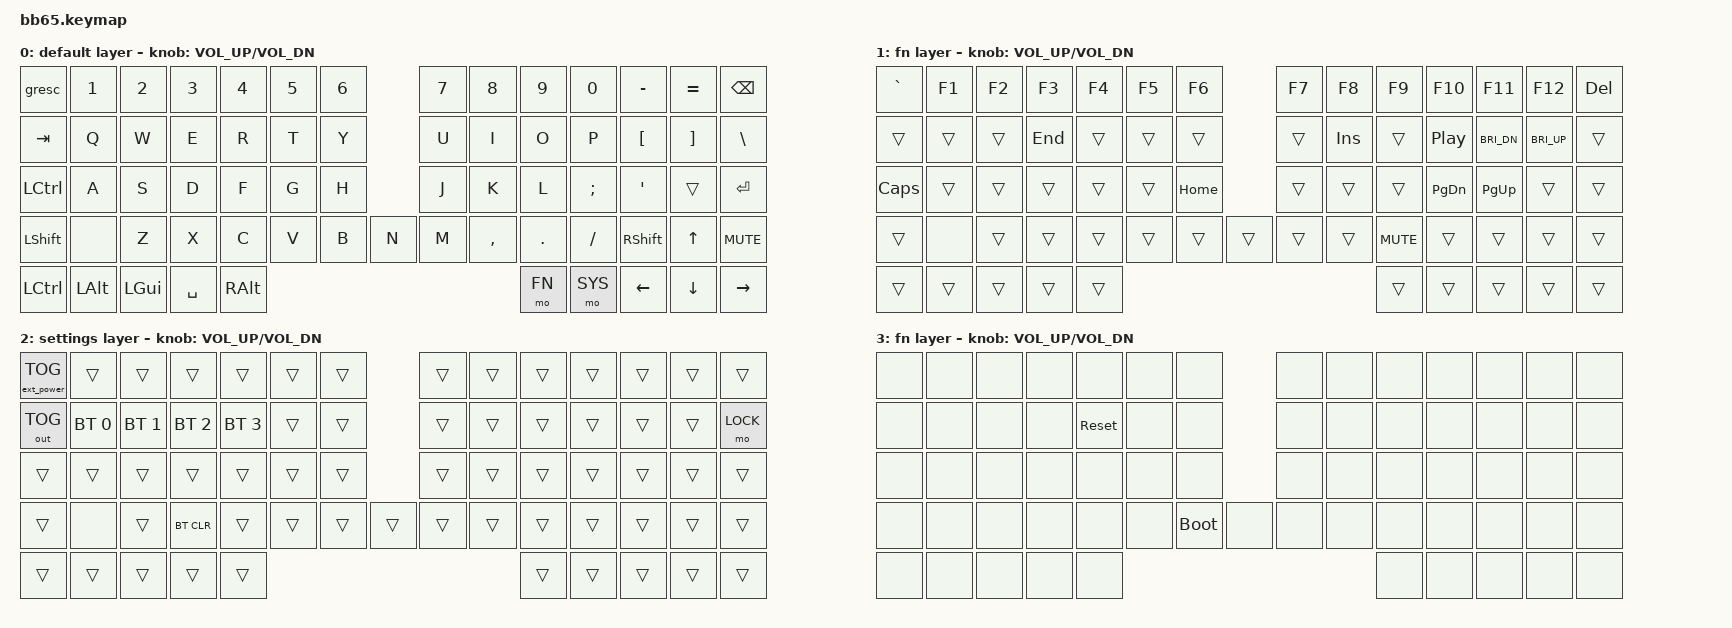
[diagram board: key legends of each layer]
/*
 * Copyright (c) 2023 The ZMK Contributors
 *
 * SPDX-License-Identifier: MIT
 */

#include <behaviors.dtsi>
#include <dt-bindings/zmk/keys.h>
#include <dt-bindings/zmk/bt.h>
#include <dt-bindings/zmk/ext_power.h>
#include <dt-bindings/zmk/outputs.h>

#define DEFAULT  0
#define FN       1
#define SYS      2
#define LOCK     3

#define TIMEOUT 300

&encoder_1 {
    status = "okay";
};

/ {
    combos {
        compatible = "zmk,combos";
        combo_btclr { 
            timeout-ms = <TIMEOUT>;
            key-positions = <0 42 58>;
            bindings = <&kp GRAVE>;
        };
    };

    behaviors {
        gresc: grave_escape {
            compatible = "zmk,behavior-mod-morph";
            label = "GRAVE_ESCAPE";
            #binding-cells = <0>;
            bindings = <&kp ESC>, <&kp TILDE>;
            mods = <(MOD_LGUI|MOD_LSFT|MOD_RGUI|MOD_RSFT)>;
        };
    };

    sensors {
        compatible = "zmk,keymap-sensors";
        sensors = <&encoder_1>;
    };

    keymap0: keymap {
        compatible = "zmk,keymap";

        default_layer {
            label = "default layer";
            bindings = <
                &gresc          &kp N1   &kp N2   &kp N3 &kp N4   &kp N5    &kp N6 &kp N7 &kp N8    &kp N9   &kp N0    &kp MINUS &kp EQUAL &kp BSPC
                &kp TAB         &kp Q    &kp W    &kp E  &kp R    &kp T     &kp Y  &kp U  &kp I     &kp O    &kp P     &kp LBKT  &kp RBKT  &kp BSLH
                &kp LCTRL         &kp A    &kp S    &kp D  &kp F    &kp G     &kp H  &kp J  &kp K     &kp L    &kp SEMI  &kp APOS  &trans    &kp ENTER
                &kp LSHFT &none &kp Z    &kp X    &kp C  &kp V    &kp B     &kp N  &kp M  &kp COMMA &kp DOT  &kp FSLH  &kp RSHFT           &kp UP    &kp K_MUTE
                &kp LCTRL       &kp LALT &kp LGUI                 &kp SPACE               &kp RALT  &mo FN   &mo SYS             &kp LEFT  &kp DOWN  &kp RIGHT
            >;
            sensor-bindings = <&inc_dec_kp C_VOL_UP C_VOL_DN>;
        };

        fn_layer {
            label = "fn layer";
            bindings = <
                &kp GRAVE    &kp F1 &kp F2 &kp F3  &kp F4 &kp F5 &kp F6   &kp F7 &kp F8  &kp F9     &kp F10   &kp F11      &kp F12      &kp DEL
                &trans       &trans &trans &kp END &trans &trans &trans   &trans &kp INS &trans     &kp C_PP  &kp C_BRI_DN &kp C_BRI_UP &trans
                &kp CAPS     &trans &trans &trans  &trans &trans &kp HOME &trans &trans  &trans     &kp PG_DN &kp PG_UP    &trans       &trans
                &trans &none &trans &trans &trans  &trans &trans &trans   &trans &trans  &kp K_MUTE &trans    &trans                    &trans   &trans
                &trans       &trans &trans                &trans                 &trans  &trans     &trans                 &trans       &trans   &trans
            >;
            sensor-bindings = <&inc_dec_kp C_VOL_UP C_VOL_DN>;
        };

        system_layer {
            label = "settings layer";
            bindings = <
                &ext_power EP_TOG       &trans       &trans       &trans       &trans       &trans &trans &trans &trans &trans &trans &trans &trans &trans
                &out OUT_TOG            &bt BT_SEL 0 &bt BT_SEL 1 &bt BT_SEL 2 &bt BT_SEL 3 &trans &trans &trans &trans &trans &trans &trans &trans &mo LOCK
                &trans                  &trans       &trans       &trans       &trans       &trans &trans &trans &trans &trans &trans &trans &trans &trans
                &trans            &none &trans       &bt BT_CLR   &trans       &trans       &trans &trans &trans &trans &trans &trans &trans        &trans   &trans
                &trans                  &trans       &trans                                 &trans        &trans &trans &trans        &trans &trans &trans
            >;
            sensor-bindings = <&inc_dec_kp C_VOL_UP C_VOL_DN>;
        };

        lock_layer {
            label = "fn layer";
            bindings = <
                &none       &none &none &none &none      &none       &none &none &none &none &none &none &none &none
                &none       &none &none &none &sys_reset &none       &none &none &none &none &none &none &none &none
                &none       &none &none &none &none      &none       &none &none &none &none &none &none &none &none
                &none &none &none &none &none &none      &bootloader &none &none &none &none &none &none       &none &none
                &none       &none &none                              &none       &none &none &none       &none &none &none
            >;
            sensor-bindings = <&inc_dec_kp C_VOL_UP C_VOL_DN>;
        };
    };
};
